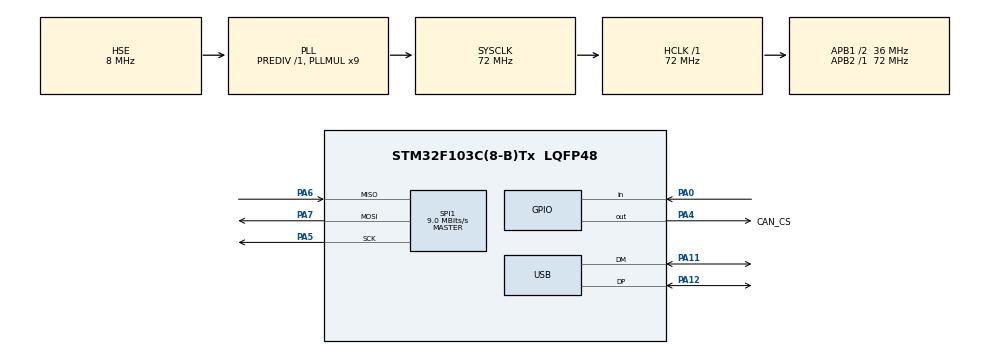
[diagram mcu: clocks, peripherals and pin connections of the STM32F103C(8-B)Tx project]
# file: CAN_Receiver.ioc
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Mcu.Family=STM32F1
Mcu.Name=STM32F103C(8-B)Tx
Mcu.Package=LQFP48
NVIC.PriorityGroup=NVIC_PRIORITYGROUP_4
NVIC.USB_LP_CAN1_RX0_IRQn=true\:0\:0\:false\:false\:true\:false\:true\:true
PA0-WKUP.GPIO_PuPd=GPIO_PULLUP
PA0-WKUP.Signal=GPIO_Input
PA11.Mode=Device
PA11.Signal=USB_DM
PA12.Mode=Device
PA12.Signal=USB_DP
PA13.Mode=Serial_Wire
PA13.Signal=SYS_JTMS-SWDIO
PA14.Mode=Serial_Wire
PA14.Signal=SYS_JTCK-SWCLK
PA4.GPIO_Label=CAN_CS
PA4.Signal=GPIO_Output
PA5.Mode=Full_Duplex_Master
PA5.Signal=SPI1_SCK
PA6.Mode=Full_Duplex_Master
PA6.Signal=SPI1_MISO
PA7.Mode=Full_Duplex_Master
PA7.Signal=SPI1_MOSI
PD0-OSC_IN.Mode=HSE-External-Oscillator
PD0-OSC_IN.Signal=RCC_OSC_IN
PD1-OSC_OUT.Mode=HSE-External-Oscillator
PD1-OSC_OUT.Signal=RCC_OSC_OUT
ProjectManager.HeapSize=0x200
ProjectManager.StackSize=0x400
ProjectManager.TargetToolchain=STM32CubeIDE
RCC.AHBFreq_Value=72000000
RCC.APB1CLKDivider=RCC_HCLK_DIV2
RCC.APB1Freq_Value=36000000
RCC.APB1TimFreq_Value=72000000
RCC.APB2Freq_Value=72000000
RCC.APB2TimFreq_Value=72000000
RCC.HCLKFreq_Value=72000000
RCC.PLLMUL=RCC_PLL_MUL9
RCC.PLLSourceVirtual=RCC_PLLSOURCE_HSE
RCC.SYSCLKFreq_VALUE=72000000
RCC.SYSCLKSource=RCC_SYSCLKSOURCE_PLLCLK
RCC.USBFreq_Value=48000000
RCC.USBPrescaler=RCC_USBCLKSOURCE_PLL_DIV1_5
SPI1.BaudRatePrescaler=SPI_BAUDRATEPRESCALER_8
SPI1.CalculateBaudRate=9.0 MBits/s
SPI1.Direction=SPI_DIRECTION_2LINES
SPI1.Mode=SPI_MODE_MASTER
SPI1.VirtualType=VM_MASTER
USB_DEVICE.APP_RX_DATA_SIZE=128
USB_DEVICE.APP_TX_DATA_SIZE=128
USB_DEVICE.CLASS_NAME_FS=CDC
USB_DEVICE.VirtualMode=Cdc
USB_DEVICE.VirtualModeFS=Cdc_FS
VP_USB_DEVICE_VS_USB_DEVICE_CDC_FS.Mode=CDC_FS
board=custom

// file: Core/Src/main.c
/* USER CODE BEGIN Header */
/**
  ******************************************************************************
  * @file           : main.c
  * @brief          : Main program body
  ******************************************************************************
  * @attention
  *
  * Copyright (c) 2024 STMicroelectronics.
  * All rights reserved.
  *
  * This software is licensed under terms that can be found in the LICENSE file
  * in the root directory of this software component.
  * If no LICENSE file comes with this software, it is provided AS-IS.
  *
  ******************************************************************************
  */
/* USER CODE END Header */
#include "main.h"
#include "usb_device.h"

/* USER CODE BEGIN Includes */
#include "CAN_SPI.h"
/* USER CODE END Includes */

SPI_HandleTypeDef hspi1;

void SystemClock_Config(void);
static void MX_GPIO_Init(void);
static void MX_SPI1_Init(void);

/* USER CODE BEGIN 0 */
uint8_t rx_buffer[9] = {0};
uint16_t id = 0;
/* USER CODE END 0 */

int main(void)
{

  /* MCU Configuration--------------------------------------------------------*/

  /* Reset of all peripherals, Initializes the Flash interface and the Systick. */
  HAL_Init();

  /* Configure the system clock */
  SystemClock_Config();

  /* Initialize all configured peripherals */
  MX_GPIO_Init();
  MX_SPI1_Init();
  MX_USB_DEVICE_Init();
  /* USER CODE BEGIN 2 */
  uCAN_MSG rxMessage;
  CANSPI_Initialize();
  /* USER CODE END 2 */

  /* Infinite loop */
  /* USER CODE BEGIN WHILE */
  while (1)
  {
	  if(CANSPI_Receive(&rxMessage))
	  {
		  rx_buffer[0] = rxMessage.frame.data0;
		  rx_buffer[1] = rxMessage.frame.data1;
		  rx_buffer[2] = rxMessage.frame.data2;
		  rx_buffer[3] = rxMessage.frame.data3;
		  rx_buffer[4] = rxMessage.frame.data4;
		  rx_buffer[5] = rxMessage.frame.data5;
		  rx_buffer[6] = rxMessage.frame.data6;
		  rx_buffer[7] = rxMessage.frame.data7;
		  rx_buffer[8] = rxMessage.frame.dlc;
		  id = rxMessage.frame.id;
	  }
	  HAL_Delay(100);
    /* USER CODE END WHILE */

  }
}

void SystemClock_Config(void)
{
  RCC_OscInitTypeDef RCC_OscInitStruct = {0};
  RCC_ClkInitTypeDef RCC_ClkInitStruct = {0};
  RCC_PeriphCLKInitTypeDef PeriphClkInit = {0};

  /** Initializes the RCC Oscillators according to the specified parameters
  * in the RCC_OscInitTypeDef structure.
  */
  RCC_OscInitStruct.OscillatorType = RCC_OSCILLATORTYPE_HSE;
  RCC_OscInitStruct.HSEState = RCC_HSE_ON;
  RCC_OscInitStruct.HSEPredivValue = RCC_HSE_PREDIV_DIV1;
  RCC_OscInitStruct.HSIState = RCC_HSI_ON;
  RCC_OscInitStruct.PLL.PLLState = RCC_PLL_ON;
  RCC_OscInitStruct.PLL.PLLSource = RCC_PLLSOURCE_HSE;
  RCC_OscInitStruct.PLL.PLLMUL = RCC_PLL_MUL9;
  if (HAL_RCC_OscConfig(&RCC_OscInitStruct) != HAL_OK)
  {
    Error_Handler();
  }

  /** Initializes the CPU, AHB and APB buses clocks
  */
  RCC_ClkInitStruct.ClockType = RCC_CLOCKTYPE_HCLK|RCC_CLOCKTYPE_SYSCLK
                              |RCC_CLOCKTYPE_PCLK1|RCC_CLOCKTYPE_PCLK2;
  RCC_ClkInitStruct.SYSCLKSource = RCC_SYSCLKSOURCE_PLLCLK;
  RCC_ClkInitStruct.AHBCLKDivider = RCC_SYSCLK_DIV1;
  RCC_ClkInitStruct.APB1CLKDivider = RCC_HCLK_DIV2;
  RCC_ClkInitStruct.APB2CLKDivider = RCC_HCLK_DIV1;

  if (HAL_RCC_ClockConfig(&RCC_ClkInitStruct, FLASH_LATENCY_2) != HAL_OK)
  {
    Error_Handler();
  }
  PeriphClkInit.PeriphClockSelection = RCC_PERIPHCLK_USB;
  PeriphClkInit.UsbClockSelection = RCC_USBCLKSOURCE_PLL_DIV1_5;
  if (HAL_RCCEx_PeriphCLKConfig(&PeriphClkInit) != HAL_OK)
  {
    Error_Handler();
  }
}

static void MX_SPI1_Init(void)
{

  /* SPI1 parameter configuration*/
  hspi1.Instance = SPI1;
  hspi1.Init.Mode = SPI_MODE_MASTER;
  hspi1.Init.Direction = SPI_DIRECTION_2LINES;
  hspi1.Init.DataSize = SPI_DATASIZE_8BIT;
  hspi1.Init.CLKPolarity = SPI_POLARITY_LOW;
  hspi1.Init.CLKPhase = SPI_PHASE_1EDGE;
  hspi1.Init.NSS = SPI_NSS_SOFT;
  hspi1.Init.BaudRatePrescaler = SPI_BAUDRATEPRESCALER_8;
  hspi1.Init.FirstBit = SPI_FIRSTBIT_MSB;
  hspi1.Init.TIMode = SPI_TIMODE_DISABLE;
  hspi1.Init.CRCCalculation = SPI_CRCCALCULATION_DISABLE;
  hspi1.Init.CRCPolynomial = 10;
  if (HAL_SPI_Init(&hspi1) != HAL_OK)
  {
    Error_Handler();
  }

}

static void MX_GPIO_Init(void)
{
  GPIO_InitTypeDef GPIO_InitStruct = {0};

  /* GPIO Ports Clock Enable */
  __HAL_RCC_GPIOD_CLK_ENABLE();
  __HAL_RCC_GPIOA_CLK_ENABLE();

  /*Configure GPIO pin Output Level */
  HAL_GPIO_WritePin(CAN_CS_GPIO_Port, CAN_CS_Pin, GPIO_PIN_RESET);

  /*Configure GPIO pin : PA0 */
  GPIO_InitStruct.Pin = GPIO_PIN_0;
  GPIO_InitStruct.Mode = GPIO_MODE_INPUT;
  GPIO_InitStruct.Pull = GPIO_PULLUP;
  HAL_GPIO_Init(GPIOA, &GPIO_InitStruct);

  /*Configure GPIO pin : CAN_CS_Pin */
  GPIO_InitStruct.Pin = CAN_CS_Pin;
  GPIO_InitStruct.Mode = GPIO_MODE_OUTPUT_PP;
  GPIO_InitStruct.Pull = GPIO_NOPULL;
  GPIO_InitStruct.Speed = GPIO_SPEED_FREQ_LOW;
  HAL_GPIO_Init(CAN_CS_GPIO_Port, &GPIO_InitStruct);

}

void Error_Handler(void)
{
  __disable_irq();
  while (1)
  {
  }
}
